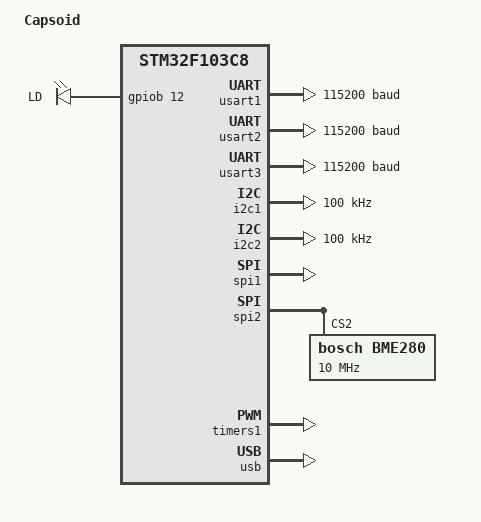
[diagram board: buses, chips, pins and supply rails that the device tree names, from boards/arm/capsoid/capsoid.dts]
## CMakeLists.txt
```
cmake_minimum_required(VERSION 3.16.1)

set(BOARD capsoid)

set(BOARD_ROOT ${CMAKE_CURRENT_LIST_DIR})

set(CONF_FILE prj.conf)

set(ZEPHYR_MODULES $ENV{ZEPHYR_MODULES})

include($ENV{ZEPHYR_BASE}/cmake/app/boilerplate.cmake NO_POLICY_SCOPE)
project(capsoid_controller)

target_sources(app PRIVATE
    src/main.c
    src/ieee802154_cc1101.c
    src/cc1101.c
    src/minmea.c
    src/neo_6m.c)

include_directories(src)

get_target_property(_src app SOURCES)
add_custom_target(tags
    ctags -R --c-kinds=+p ${_src}
    "$ENV{ZEPHYR_BASE}/kernel"
    "$ENV{ZEPHYR_BASE}/include"
    "$ENV{ZEPHYR_BASE}/lib"
    "$ENV{ZEPHYR_BASE}/subsys"
    "$ENV{ZEPHYR_BASE}/drivers"
    "$ENV{ZEPHYR_BASE}/soc"
    "$ENV{ZEPHYR_BASE}/arch"
    WORKING_DIRECTORY "${CMAKE_SOURCE_DIR}"
)


set(CMAKE_EXPORT_COMPILE_COMMANDS ON)
file(CREATE_LINK ${CMAKE_CURRENT_BINARY_DIR}/compile_commands.json ${CMAKE_CURRENT_SOURCE_DIR}/compile_commands.json SYMBOLIC)

#list (SORT _variableNames)
#foreach (_variableName ${_variableNames})
#    message(STATUS "${_variableName}=${${_variableName}}")
#endforeach()
```

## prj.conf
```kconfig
# Generated by Kconfiglib (https://github.com/ulfalizer/Kconfiglib)

#
# Modules
#

#
# Optional modules. Make sure they're installed, via the project manifest.
#
# CONFIG_CIVETWEB is not set
# CONFIG_LIBMETAL is not set
# CONFIG_MBEDTLS is not set
# CONFIG_HAS_MEC_HAL is not set
# CONFIG_OPENAMP is not set
CONFIG_HAS_STM32CUBE=y
CONFIG_USE_STM32_LL_I2C=y
CONFIG_USE_STM32_LL_SPI=y
CONFIG_USE_STM32_LL_UTILS=y
# CONFIG_MIPI_SYST_LIB is not set
# CONFIG_TINYCBOR is not set
# end of Modules

CONFIG_BOARD="capsoid"
# CONFIG_UART_1 is not set
CONFIG_I2C_1=y
# CONFIG_I2C_2 is not set
CONFIG_SPI_1=y
CONFIG_SPI_2=y
CONFIG_SOC="stm32f103xb"
CONFIG_SOC_SERIES="stm32f1"
CONFIG_NUM_IRQS=43
CONFIG_SYS_CLOCK_HW_CYCLES_PER_SEC=72000000
# CONFIG_WATCHDOG is not set
# CONFIG_UART_NS16550 is not set
CONFIG_GPIO=y
CONFIG_CORTEX_M_SYSTICK=y
CONFIG_ISR_STACK_SIZE=2048
CONFIG_CLOCK_CONTROL=y
CONFIG_SYS_CLOCK_TICKS_PER_SEC=10000
# CONFIG_SYS_POWER_MANAGEMENT is not set
CONFIG_BUILD_OUTPUT_HEX=y
CONFIG_TEXT_SECTION_OFFSET=0
CONFIG_FLASH_SIZE=64
CONFIG_FLASH_BASE_ADDRESS=0x8000000
CONFIG_SRAM_SIZE=20
CONFIG_SRAM_BASE_ADDRESS=0x20000000
CONFIG_SPI=y
# CONFIG_TINYCRYPT is not set
CONFIG_CLOCK_CONTROL_STM32_CUBE=y
CONFIG_UART_STM32=y
CONFIG_GPIO_STM32=y
CONFIG_GPIO_STM32_PORTA=y
CONFIG_GPIO_STM32_PORTB=y
CONFIG_GPIO_STM32_PORTC=y
CONFIG_PINMUX_STM32=y
CONFIG_SPI_STM32=y
CONFIG_I2C_STM32=y
CONFIG_GPIO_STM32_PORTD=y
# CONFIG_GPIO_STM32_PORTF is not set
CONFIG_GPIO_STM32_PORTE=y
# CONFIG_GPIO_STM32_PORTG is not set
CONFIG_I2C_STM32_V1=y
# CONFIG_GPIO_STM32_PORTH is not set
# CONFIG_GPIO_STM32_PORTI is not set
# CONFIG_GPIO_STM32_PORTJ is not set
# CONFIG_GPIO_STM32_PORTK is not set
CONFIG_BOARD_CAPSOID=y

#
# Board Options
#
CONFIG_GPIO_AS_PINRESET=y
# end of Board Options

# CONFIG_SOC_SERIES_BEETLE is not set
# CONFIG_SOC_SERIES_MPS2 is not set
# CONFIG_SOC_SERIES_MUSCA is not set
# CONFIG_SOC_SERIES_MUSCA_B1 is not set
# CONFIG_SOC_SERIES_SAM3X is not set
# CONFIG_SOC_SERIES_SAM4S is not set
# CONFIG_SOC_SERIES_SAME70 is not set
# CONFIG_SOC_SERIES_SAMD20 is not set
# CONFIG_SOC_SERIES_SAMD21 is not set
# CONFIG_SOC_SERIES_SAMD51 is not set
# CONFIG_SOC_SERIES_SAME51 is not set
# CONFIG_SOC_SERIES_SAME53 is not set
# CONFIG_SOC_SERIES_SAME54 is not set
# CONFIG_SOC_SERIES_SAMR21 is not set
# CONFIG_SOC_SERIES_PSOC62 is not set
# CONFIG_SOC_SERIES_MEC1501X is not set
# CONFIG_SOC_SERIES_MEC1701X is not set
# CONFIG_SOC_SERIES_NRF51X is not set
# CONFIG_SOC_SERIES_NRF52X is not set
# CONFIG_SOC_SERIES_NRF53X is not set
# CONFIG_SOC_SERIES_NRF91X is not set
# CONFIG_SOC_SERIES_IMX_6X_M4 is not set
# CONFIG_SOC_SERIES_IMX7_M4 is not set
# CONFIG_SOC_SERIES_IMX_RT is not set
# CONFIG_SOC_SERIES_KINETIS_K2X is not set
# CONFIG_SOC_SERIES_KINETIS_K6X is not set
# CONFIG_SOC_SERIES_KINETIS_K8X is not set
# CONFIG_SOC_SERIES_KINETIS_KE1XF is not set
# CONFIG_SOC_SERIES_KINETIS_KL2X is not set
# CONFIG_SOC_SERIES_KINETIS_KV5X is not set
# CONFIG_SOC_SERIES_KINETIS_KWX is not set
# CONFIG_SOC_SERIES_LPC54XXX is not set
# CONFIG_SOC_SERIES_LPC55XXX is not set
# CONFIG_SOC_SERIES_EFM32HG is not set
# CONFIG_SOC_SERIES_EFM32PG12B is not set
# CONFIG_SOC_SERIES_EFM32WG is not set
# CONFIG_SOC_SERIES_EFR32FG1P is not set
# CONFIG_SOC_SERIES_EFR32MG12P is not set
# CONFIG_SOC_SERIES_STM32F0X is not set
CONFIG_SOC_SERIES_STM32F1X=y
# CONFIG_SOC_SERIES_STM32F2X is not set
# CONFIG_SOC_SERIES_STM32F3X is not set
# CONFIG_SOC_SERIES_STM32F4X is not set
# CONFIG_SOC_SERIES_STM32F7X is not set
# CONFIG_SOC_SERIES_STM32G0X is not set
# CONFIG_SOC_SERIES_STM32G4X is not set
# CONFIG_SOC_SERIES_STM32H7X is not set
# CONFIG_SOC_SERIES_STM32L0X is not set
# CONFIG_SOC_SERIES_STM32L1X is not set
# CONFIG_SOC_SERIES_STM32L4X is not set
# CONFIG_SOC_SERIES_STM32MP1X is not set
# CONFIG_SOC_SERIES_STM32WBX is not set
# CONFIG_SOC_TI_LM3S6965 is not set
# CONFIG_SOC_SERIES_CC13X2_CC26X2 is not set
# CONFIG_SOC_SERIES_CC2650 is not set
# CONFIG_SOC_SERIES_CC32XX is not set
# CONFIG_SOC_SERIES_MSP432P4XX is not set
# CONFIG_SOC_XILINX_ZYNQMP is not set

#
# Hardware Configuration
#
CONFIG_HAS_SWO=y
CONFIG_SOC_FAMILY="st_stm32"
CONFIG_SOC_FAMILY_STM32=y
# CONFIG_SOC_STM32F103XE is not set
# CONFIG_SOC_STM32F103XB is not set
CONFIG_SOC_STM32F103X8=y
# CONFIG_SOC_STM32F107XC is not set
CONFIG_SOC_STM32F10X_DENSITY_DEVICE=y
# CONFIG_RPROC_RSC_TABLE is not set
# end of Hardware Configuration

#
# ARM Options
#
CONFIG_CPU_CORTEX=y
CONFIG_CPU_CORTEX_M=y
CONFIG_ISA_THUMB2=y
CONFIG_STACK_ALIGN_DOUBLE_WORD=y
# CONFIG_RUNTIME_NMI is not set
# CONFIG_PLATFORM_SPECIFIC_INIT is not set
CONFIG_FAULT_DUMP=2
CONFIG_CPU_CORTEX_M3=y
CONFIG_CPU_CORTEX_M_HAS_SYSTICK=y
CONFIG_CPU_CORTEX_M_HAS_BASEPRI=y
CONFIG_CPU_CORTEX_M_HAS_VTOR=y
CONFIG_CPU_CORTEX_M_HAS_PROGRAMMABLE_FAULT_PRIOS=y
CONFIG_ARMV7_M_ARMV8_M_MAINLINE=y
CONFIG_XIP=y

#
# ARM Cortex-M0/M0+/M3/M4/M7/M23/M33 options
#
CONFIG_GEN_ISR_TABLES=y
# CONFIG_ZERO_LATENCY_IRQS is not set
# end of ARM Cortex-M0/M0+/M3/M4/M7/M23/M33 options

CONFIG_GEN_IRQ_VECTOR_TABLE=y
CONFIG_ARCH="arm"
# end of ARM Options

# CONFIG_ARC is not set
CONFIG_ARM=y
# CONFIG_X86 is not set
# CONFIG_NIOS2 is not set
# CONFIG_RISCV is not set
# CONFIG_XTENSA is not set
# CONFIG_ARCH_POSIX is not set

#
# General Architecture Options
#
# CONFIG_STACK_GROWS_UP is not set

#
# Interrupt Configuration
#
# CONFIG_DYNAMIC_INTERRUPTS is not set
CONFIG_GEN_SW_ISR_TABLE=y
CONFIG_ARCH_SW_ISR_TABLE_ALIGN=0
CONFIG_GEN_IRQ_START_VECTOR=0
# end of Interrupt Configuration
# end of General Architecture Options

CONFIG_ARCH_HAS_RAMFUNC_SUPPORT=y
CONFIG_ARCH_HAS_NESTED_EXCEPTION_DETECTION=y
CONFIG_ARCH_HAS_THREAD_ABORT=y

#
# General Kernel Options
#
CONFIG_MULTITHREADING=y
CONFIG_NUM_COOP_PRIORITIES=16
CONFIG_NUM_PREEMPT_PRIORITIES=15
CONFIG_MAIN_THREAD_PRIORITY=0
CONFIG_COOP_ENABLED=y
CONFIG_PREEMPT_ENABLED=y
CONFIG_PRIORITY_CEILING=0
CONFIG_NUM_METAIRQ_PRIORITIES=0
# CONFIG_SCHED_DEADLINE is not set
# CONFIG_SCHED_CPU_MASK is not set
CONFIG_MAIN_STACK_SIZE=1024
CONFIG_IDLE_STACK_SIZE=256
# CONFIG_THREAD_STACK_INFO is not set
# CONFIG_THREAD_CUSTOM_DATA is not set
CONFIG_ERRNO=y
CONFIG_SCHED_DUMB=y
# CONFIG_SCHED_SCALABLE is not set
# CONFIG_SCHED_MULTIQ is not set
# CONFIG_WAITQ_SCALABLE is not set
CONFIG_WAITQ_DUMB=y

#
# Kernel Debugging and Metrics
#
# CONFIG_INIT_STACKS is not set
# CONFIG_KERNEL_DEBUG is not set
CONFIG_BOOT_BANNER=y
CONFIG_BOOT_DELAY=0
# CONFIG_EXECUTION_BENCHMARKING is not set
# CONFIG_THREAD_MONITOR is not set
# CONFIG_THREAD_NAME is not set
# end of Kernel Debugging and Metrics

#
# Work Queue Options
#
CONFIG_SYSTEM_WORKQUEUE_STACK_SIZE=1024
CONFIG_SYSTEM_WORKQUEUE_PRIORITY=-1
CONFIG_OFFLOAD_WORKQUEUE_STACK_SIZE=1024
CONFIG_OFFLOAD_WORKQUEUE_PRIORITY=-1
# end of Work Queue Options

#
# Atomic Operations
#
CONFIG_ATOMIC_OPERATIONS_BUILTIN=y
# end of Atomic Operations

#
# Timer API Options
#
CONFIG_TIMESLICING=y
CONFIG_TIMESLICE_SIZE=0
CONFIG_TIMESLICE_PRIORITY=0
CONFIG_POLL=y
# end of Timer API Options

#
# Other Kernel Object Options
#
CONFIG_NUM_MBOX_ASYNC_MSGS=10
CONFIG_NUM_PIPE_ASYNC_MSGS=10
CONFIG_HEAP_MEM_POOL_SIZE=0
# end of Other Kernel Object Options

CONFIG_ARCH_HAS_CUSTOM_SWAP_TO_MAIN=y
CONFIG_SWAP_NONATOMIC=y
CONFIG_SYS_CLOCK_EXISTS=y

#
# Initialization Priorities
#
CONFIG_KERNEL_INIT_PRIORITY_OBJECTS=30
CONFIG_KERNEL_INIT_PRIORITY_DEFAULT=40
CONFIG_KERNEL_INIT_PRIORITY_DEVICE=50
CONFIG_APPLICATION_INIT_PRIORITY=90
# end of Initialization Priorities

#
# Security Options
#
# end of Security Options

#
# SMP Options
#
CONFIG_MP_NUM_CPUS=1
# CONFIG_SCHED_IPI_SUPPORTED is not set
# end of SMP Options

CONFIG_TICKLESS_IDLE=y
CONFIG_TICKLESS_IDLE_THRESH=3
CONFIG_TICKLESS_KERNEL=y
# CONFIG_DEVICE_POWER_MANAGEMENT is not set
# end of General Kernel Options

CONFIG_HAS_DTS=y
CONFIG_HAS_DTS_GPIO=y
CONFIG_HAS_DTS_I2C=y

#
# Device Drivers
#
# CONFIG_IEEE802154 is not set
CONFIG_UART_CONSOLE_ON_DEV_NAME="UART_2"
CONFIG_CONSOLE=y
CONFIG_CONSOLE_INPUT_MAX_LINE_LEN=128
CONFIG_CONSOLE_HAS_DRIVER=y
CONFIG_CONSOLE_HANDLER=y
CONFIG_UART_CONSOLE=y
CONFIG_UART_CONSOLE_INIT_PRIORITY=60
# CONFIG_UART_CONSOLE_DEBUG_SERVER_HOOKS is not set
# CONFIG_UART_CONSOLE_MCUMGR is not set
# CONFIG_USB_UART_CONSOLE is not set
# CONFIG_RAM_CONSOLE is not set
# CONFIG_IPM_CONSOLE_SENDER is not set
# CONFIG_IPM_CONSOLE_RECEIVER is not set
# CONFIG_UART_PIPE is not set
# CONFIG_UART_MCUMGR is not set
# CONFIG_NET_LOOPBACK is not set
CONFIG_SERIAL=y

#
# Capabilities
#
CONFIG_SERIAL_HAS_DRIVER=y
CONFIG_SERIAL_SUPPORT_INTERRUPT=y
CONFIG_UART_INTERRUPT_DRIVEN=y
CONFIG_UART_LINE_CTRL=y
# CONFIG_UART_DRV_CMD is not set

#
# Serial Drivers
#
# CONFIG_UART_NSIM is not set
CONFIG_UART_2=y
CONFIG_UART_3=y
# CONFIG_UART_4 is not set
# CONFIG_UART_5 is not set
# CONFIG_UART_6 is not set
# CONFIG_UART_7 is not set
# CONFIG_UART_8 is not set
# CONFIG_UART_9 is not set
# CONFIG_UART_10 is not set
# CONFIG_UART_ALTERA_JTAG is not set
# CONFIG_UART_PL011 is not set

#
# Interrupt Controllers
#
CONFIG_EXTI_STM32=y
CONFIG_EXTI_STM32_EXTI0_IRQ_PRI=0
CONFIG_EXTI_STM32_EXTI1_IRQ_PRI=0
CONFIG_EXTI_STM32_EXTI2_IRQ_PRI=0
CONFIG_EXTI_STM32_EXTI3_IRQ_PRI=0
CONFIG_EXTI_STM32_EXTI4_IRQ_PRI=0
CONFIG_EXTI_STM32_EXTI9_5_IRQ_PRI=0
CONFIG_EXTI_STM32_EXTI15_10_IRQ_PRI=0
# CONFIG_MULTI_LEVEL_INTERRUPTS is not set
# end of Interrupt Controllers

#
# Timer Drivers
#
# CONFIG_SYSTEM_CLOCK_DISABLE is not set
# CONFIG_TIMER_READS_ITS_FREQUENCY_AT_RUNTIME is not set
# CONFIG_SYSTEM_CLOCK_SLOPPY_IDLE is not set
CONFIG_SYSTEM_CLOCK_INIT_PRIORITY=0
CONFIG_TICKLESS_CAPABLE=y
# end of Timer Drivers

# CONFIG_ENTROPY_GENERATOR is not set
# CONFIG_GPIO_SHELL is not set
# CONFIG_GPIO_DW is not set
# CONFIG_GPIO_PCAL9535A is not set
CONFIG_GPIO_STM32_SWJ_ENABLE=y
# CONFIG_GPIO_STM32_SWJ_NONJTRST is not set
# CONFIG_GPIO_STM32_SWJ_NOJTAG is not set
# CONFIG_GPIO_STM32_SWJ_DISABLE is not set
# CONFIG_GPIO_SX1509B is not set
# CONFIG_GPIO_INTEL_APL is not set
# CONFIG_SHARED_IRQ is not set
# CONFIG_SPI_ASYNC is not set
# CONFIG_SPI_SLAVE is not set
CONFIG_SPI_INIT_PRIORITY=70
# CONFIG_SPI_0 is not set
CONFIG_SPI_1_OP_MODES=1
CONFIG_SPI_2_OP_MODES=1
# CONFIG_SPI_3 is not set
# CONFIG_SPI_4 is not set
# CONFIG_SPI_5 is not set
# CONFIG_SPI_6 is not set
# CONFIG_SPI_STM32_INTERRUPT is not set
CONFIG_SPI_STM32_USE_HW_SS=y
# CONFIG_SPI_OC_SIMPLE is not set
CONFIG_I2C=y
CONFIG_I2C_SLAVE=y
CONFIG_I2C_SLAVE_INIT_PRIORITY=60
# CONFIG_I2C_EEPROM_SLAVE is not set
# CONFIG_I2C_GPIO is not set
# CONFIG_I2C_SBCON is not set
CONFIG_I2C_STM32_INTERRUPT=y
CONFIG_I2C_INIT_PRIORITY=60
# CONFIG_I2C_0 is not set
# CONFIG_I2C_3 is not set
# CONFIG_I2C_4 is not set
# CONFIG_I2C_5 is not set
# CONFIG_I2C_6 is not set
# CONFIG_I2C_7 is not set
# CONFIG_I2S is not set
# CONFIG_PWM is not set
CONFIG_PINMUX=y
CONFIG_PINMUX_NAME="PINMUX"
CONFIG_PINMUX_INIT_PRIORITY=45
CONFIG_PINMUX_STM32_DEVICE_INITIALIZATION_PRIORITY=2
# CONFIG_ADC is not set
CONFIG_CLOCK_CONTROL_STM32_DEVICE_INIT_PRIORITY=1
# CONFIG_CLOCK_STM32_SYSCLK_SRC_HSE is not set
# CONFIG_CLOCK_STM32_SYSCLK_SRC_HSI is not set
CONFIG_CLOCK_STM32_SYSCLK_SRC_PLL=y
# CONFIG_CLOCK_STM32_HSE_BYPASS is not set
CONFIG_CLOCK_STM32_HSE_CLOCK=8000000
# CONFIG_CLOCK_STM32_PLL_SRC_HSI is not set
CONFIG_CLOCK_STM32_PLL_SRC_HSE=y
CONFIG_CLOCK_STM32_PLL_MULTIPLIER=9
# CONFIG_CLOCK_STM32_PLL_XTPRE is not set
CONFIG_CLOCK_STM32_AHB_PRESCALER=1
CONFIG_CLOCK_STM32_APB1_PRESCALER=2
CONFIG_CLOCK_STM32_APB2_PRESCALER=1
CONFIG_CLOCK_STM32_MCO1_SRC_NOCLOCK=y
CONFIG_CLOCK_STM32_MCO2_SRC_NOCLOCK=y
# CONFIG_PTP_CLOCK is not set
# CONFIG_IPM is not set
# CONFIG_IPM_NRF_SINGLE_INSTANCE is not set
# CONFIG_FLASH is not set
CONFIG_SENSOR=y
CONFIG_SENSOR_INIT_PRIORITY=90

#
# Device Drivers
#
# CONFIG_ADT7420 is not set
# CONFIG_ADXL362 is not set
# CONFIG_ADXL372 is not set
# CONFIG_AK8975 is not set
# CONFIG_AMG88XX is not set
# CONFIG_AMS_IAQ_CORE is not set
# CONFIG_APDS9960 is not set
# CONFIG_BMA280 is not set
# CONFIG_BMC150_MAGN is not set
CONFIG_BME280=y

#
# Attributes
#
# CONFIG_BME280_TEMP_OVER_1X is not set
CONFIG_BME280_TEMP_OVER_2X=y
# CONFIG_BME280_TEMP_OVER_4X is not set
# CONFIG_BME280_TEMP_OVER_8X is not set
# CONFIG_BME280_TEMP_OVER_16X is not set
# CONFIG_BME280_PRESS_OVER_1X is not set
# CONFIG_BME280_PRESS_OVER_2X is not set
# CONFIG_BME280_PRESS_OVER_4X is not set
# CONFIG_BME280_PRESS_OVER_8X is not set
CONFIG_BME280_PRESS_OVER_16X=y
# CONFIG_BME280_HUMIDITY_OVER_1X is not set
# CONFIG_BME280_HUMIDITY_OVER_2X is not set
# CONFIG_BME280_HUMIDITY_OVER_4X is not set
# CONFIG_BME280_HUMIDITY_OVER_8X is not set
CONFIG_BME280_HUMIDITY_OVER_16X=y
# CONFIG_BME280_STANDBY_05MS is not set
# CONFIG_BME280_STANDBY_62MS is not set
# CONFIG_BME280_STANDBY_125MS is not set
# CONFIG_BME280_STANDBY_250MS is not set
# CONFIG_BME280_STANDBY_500MS is not set
CONFIG_BME280_STANDBY_1000MS=y
# CONFIG_BME280_STANDBY_2000MS is not set
# CONFIG_BME280_STANDBY_4000MS is not set
# CONFIG_BME280_FILTER_OFF is not set
# CONFIG_BME280_FILTER_2 is not set
CONFIG_BME280_FILTER_4=y
# CONFIG_BME280_FILTER_8 is not set
# CONFIG_BME280_FILTER_16 is not set
# end of Attributes

# CONFIG_BME680 is not set
# CONFIG_BMG160 is not set
# CONFIG_BMI160 is not set
# CONFIG_BMM150 is not set
# CONFIG_CCS811 is not set
# CONFIG_DHT is not set
# CONFIG_ENS210 is not set
# CONFIG_FXAS21002 is not set
# CONFIG_FXOS8700 is not set
# CONFIG_TI_HDC is not set
# CONFIG_HMC5883L is not set
# CONFIG_HP206C is not set
# CONFIG_HTS221 is not set
# CONFIG_IIS3DHHC is not set
# CONFIG_ISL29035 is not set
# CONFIG_LIS2DH is not set
# CONFIG_LIS2DS12 is not set
# CONFIG_LIS2DW12 is not set
# CONFIG_LIS2MDL is not set
# CONFIG_LIS3MDL is not set
# CONFIG_LPS22HB is not set
# CONFIG_LPS22HH is not set
# CONFIG_LPS25HB is not set
# CONFIG_LSM303DLHC_MAGN is not set
# CONFIG_LSM6DS0 is not set
# CONFIG_LSM6DSL is not set
# CONFIG_LSM6DSO is not set
# CONFIG_LSM9DS0_GYRO is not set
# CONFIG_LSM9DS0_MFD is not set
# CONFIG_MAX30101 is not set
# CONFIG_MAX44009 is not set
# CONFIG_MCP9808 is not set
CONFIG_MPU6050=y
CONFIG_MPU6050_NAME="MPU6050"
CONFIG_MPU6050_I2C_ADDR=0x68
CONFIG_MPU6050_I2C_MASTER_DEV_NAME="I2C_1"
# CONFIG_MPU6050_TRIGGER_NONE is not set
CONFIG_MPU6050_TRIGGER_GLOBAL_THREAD=y
# CONFIG_MPU6050_TRIGGER_OWN_THREAD is not set
CONFIG_MPU6050_TRIGGER=y
CONFIG_MPU6050_GPIO_DEV_NAME="GPIOA"
CONFIG_MPU6050_GPIO_PIN_NUM=7
CONFIG_MPU6050_ACCEL_FS=16
CONFIG_MPU6050_GYRO_FS=1000
# CONFIG_MS5837 is not set
# CONFIG_OPT3001 is not set
# CONFIG_PMS7003 is not set
# CONFIG_SHT3XD is not set
# CONFIG_SI7006 is not set
# CONFIG_SI7060 is not set
# CONFIG_STTS751 is not set
# CONFIG_SX9500 is not set
# CONFIG_TH02 is not set
# CONFIG_TMP007 is not set
# CONFIG_TMP112 is not set
# CONFIG_TMP116 is not set
# CONFIG_VL53L0X is not set
# CONFIG_COUNTER is not set
# CONFIG_DMA is not set
# CONFIG_USB is not set
# CONFIG_CRYPTO is not set
# CONFIG_DISPLAY is not set
# CONFIG_LED_STRIP is not set
# CONFIG_WIFI is not set
# CONFIG_LED is not set
# CONFIG_CAN is not set
# CONFIG_MODEM is not set
# CONFIG_AUDIO is not set
# CONFIG_NEURAL_NET_ACCEL is not set
# CONFIG_HWINFO is not set
# CONFIG_ESPI is not set
# CONFIG_PS2 is not set
# CONFIG_KSCAN is not set
# CONFIG_VIDEO is not set
# CONFIG_EEPROM is not set
# end of Device Drivers

#
# C Library
#
CONFIG_MINIMAL_LIBC=y
# CONFIG_NEWLIB_LIBC is not set
# CONFIG_EXTERNAL_LIBC is not set
CONFIG_MINIMAL_LIBC_MALLOC_ARENA_SIZE=0
# CONFIG_MINIMAL_LIBC_LL_PRINTF is not set
CONFIG_STDOUT_CONSOLE=y
# end of C Library

#
# Additional libraries
#
# CONFIG_LVGL is not set

#
# OS Support Library
#
# CONFIG_JSON_LIBRARY is not set
CONFIG_RING_BUFFER=y
# CONFIG_BASE64 is not set
# end of OS Support Library

CONFIG_POSIX_MAX_FDS=4
# CONFIG_POSIX_API is not set
# CONFIG_PTHREAD_IPC is not set
# CONFIG_POSIX_CLOCK is not set
CONFIG_MAX_TIMER_COUNT=5
# CONFIG_POSIX_MQUEUE is not set
# CONFIG_UPDATEHUB is not set
# end of Additional libraries

# CONFIG_BT is not set
# CONFIG_CONSOLE_SUBSYS is not set
# CONFIG_CPLUSPLUS is not set

#
# System Monitoring Options
#
# CONFIG_BOOT_TIME_MEASUREMENT is not set
# CONFIG_STATS is not set
# end of System Monitoring Options

#
# Debugging Options
#
# CONFIG_DEBUG is not set
# CONFIG_TRACING is not set
# CONFIG_STACK_USAGE is not set
# CONFIG_STACK_SENTINEL is not set
CONFIG_PRINTK=y
CONFIG_EARLY_CONSOLE=y
# CONFIG_ASSERT is not set
# CONFIG_FORCE_NO_ASSERT is not set
# CONFIG_ASSERT_NO_FILE_INFO is not set
# CONFIG_OBJECT_TRACING is not set
# CONFIG_OVERRIDE_FRAME_POINTER_DEFAULT is not set
# CONFIG_DEBUG_INFO is not set
# CONFIG_OPENOCD_SUPPORT is not set
# CONFIG_TRACING_CPU_STATS is not set
# CONFIG_TRACING_CTF is not set
CONFIG_HAS_SEGGER_RTT=y
# CONFIG_USE_SEGGER_RTT is not set
# end of Debugging Options

# CONFIG_DISK_ACCESS is not set

#
# File Systems
#
# CONFIG_FILE_SYSTEM is not set
# CONFIG_NVS is not set
# end of File Systems

# CONFIG_LOG is not set

#
# Management
#
# CONFIG_MCUMGR_SMP_BT is not set
# CONFIG_MCUMGR_SMP_SHELL is not set
# CONFIG_MCUMGR_SMP_UART is not set
# CONFIG_MCUMGR is not set
# end of Management

#
# Networking
#
# CONFIG_NET_BUF is not set
# CONFIG_NETWORKING is not set
# end of Networking

CONFIG_SHELL=y
CONFIG_SHELL_BACKENDS=y
CONFIG_SHELL_BACKEND_SERIAL=y
CONFIG_SHELL_PROMPT_UART="UART_2:~$ "
CONFIG_UART_SHELL_ON_DEV_NAME="UART_2"
CONFIG_SHELL_BACKEND_SERIAL_INTERRUPT_DRIVEN=y
CONFIG_SHELL_BACKEND_SERIAL_TX_RING_BUFFER_SIZE=8
CONFIG_SHELL_BACKEND_SERIAL_RX_RING_BUFFER_SIZE=64
CONFIG_SHELL_BACKEND_SERIAL_LOG_MESSAGE_QUEUE_TIMEOUT=100
CONFIG_SHELL_BACKEND_SERIAL_LOG_MESSAGE_QUEUE_SIZE=10
CONFIG_SHELL_BACKEND_SERIAL_LOG_LEVEL_DEFAULT=y
# CONFIG_SHELL_BACKEND_SERIAL_LOG_LEVEL_DBG is not set
# CONFIG_SHELL_BACKEND_SERIAL_LOG_LEVEL_INF is not set
# CONFIG_SHELL_BACKEND_SERIAL_LOG_LEVEL_WRN is not set
# CONFIG_SHELL_BACKEND_SERIAL_LOG_LEVEL_ERR is not set
# CONFIG_SHELL_BACKEND_SERIAL_LOG_LEVEL_NONE is not set
CONFIG_SHELL_BACKEND_SERIAL_LOG_LEVEL=5
# CONFIG_SHELL_BACKEND_RTT is not set
# CONFIG_SHELL_BACKEND_DUMMY is not set
CONFIG_SHELL_STACK_SIZE=2048
CONFIG_SHELL_BACKSPACE_MODE_DELETE=y
CONFIG_SHELL_CMD_BUFF_SIZE=256
CONFIG_SHELL_PRINTF_BUFF_SIZE=30
CONFIG_SHELL_ARGC_MAX=12
CONFIG_SHELL_WILDCARD=y
CONFIG_SHELL_ECHO_STATUS=y
CONFIG_SHELL_VT100_COLORS=y
CONFIG_SHELL_METAKEYS=y
CONFIG_SHELL_HELP=y
CONFIG_SHELL_HELP_ON_WRONG_ARGUMENT_COUNT=y
CONFIG_SHELL_HISTORY=y
CONFIG_SHELL_HISTORY_BUFFER=512
CONFIG_SHELL_STATS=y
CONFIG_SHELL_CMDS=y
CONFIG_SHELL_CMDS_RESIZE=y
# CONFIG_SHELL_CMDS_SELECT is not set
CONFIG_KERNEL_SHELL=y
CONFIG_DEVICE_SHELL=y
# CONFIG_IMG_MANAGER is not set

#
# Random subsystem
#
# CONFIG_TEST_RANDOM_GENERATOR is not set
# end of Random subsystem

#
# Storage
#
# end of Storage

# CONFIG_SETTINGS is not set

#
# Testing
#
# CONFIG_ZTEST is not set
# CONFIG_ZTEST_MOCKING is not set
# CONFIG_TEST is not set
# CONFIG_TEST_SHELL is not set
CONFIG_TEST_EXTRA_STACKSIZE=0
# CONFIG_TEST_USERSPACE is not set
CONFIG_TEST_ARM_CORTEX_M=y
# end of Testing

# CONFIG_CHARACTER_FRAMEBUFFER is not set
# CONFIG_JWT is not set

#
# External Sources
#

#
# HALs
#
CONFIG_HAS_CMSIS_CORE=y
CONFIG_HAS_CMSIS_CORE_M=y
# end of HALs

#
# Cryptography
#
# end of Cryptography

CONFIG_FNMATCH=y
# end of External Sources

#
# Build and Link Features
#

#
# Linker Options
#
# CONFIG_LINKER_ORPHAN_SECTION_PLACE is not set
CONFIG_LINKER_ORPHAN_SECTION_WARN=y
# CONFIG_LINKER_ORPHAN_SECTION_ERROR is not set
# CONFIG_CODE_DATA_RELOCATION is not set
CONFIG_HAS_FLASH_LOAD_OFFSET=y
# CONFIG_USE_CODE_PARTITION is not set
CONFIG_FLASH_LOAD_OFFSET=0
CONFIG_FLASH_LOAD_SIZE=0
# CONFIG_HAVE_CUSTOM_LINKER_SCRIPT is not set
# CONFIG_CUSTOM_RODATA_LD is not set
# CONFIG_CUSTOM_RWDATA_LD is not set
# CONFIG_CUSTOM_SECTIONS_LD is not set
CONFIG_KERNEL_ENTRY="__start"
CONFIG_LINKER_SORT_BY_ALIGNMENT=y
# end of Linker Options

#
# Compiler Options
#
# CONFIG_NATIVE_APPLICATION is not set
CONFIG_SIZE_OPTIMIZATIONS=y
# CONFIG_SPEED_OPTIMIZATIONS is not set
# CONFIG_DEBUG_OPTIMIZATIONS is not set
# CONFIG_NO_OPTIMIZATIONS is not set
CONFIG_COMPILER_OPT=""
# end of Compiler Options

#
# Build Options
#
CONFIG_KERNEL_BIN_NAME="zephyr"
CONFIG_OUTPUT_STAT=y
CONFIG_OUTPUT_DISASSEMBLY=y
CONFIG_OUTPUT_PRINT_MEMORY_USAGE=y
CONFIG_BUILD_OUTPUT_BIN=y
# CONFIG_BUILD_OUTPUT_EXE is not set
# CONFIG_BUILD_OUTPUT_S19 is not set
# CONFIG_BUILD_NO_GAP_FILL is not set
# CONFIG_BUILD_OUTPUT_STRIPPED is not set
# CONFIG_APPLICATION_DEFINED_SYSCALL is not set
# end of Build Options
# end of Build and Link Features

#
# Boot Options
#
# CONFIG_IS_BOOTLOADER is not set
# CONFIG_BOOTLOADER_MCUBOOT is not set
# CONFIG_REBOOT is not set
# CONFIG_MISRA_SANE is not set
# end of Boot Options

#
# Compatibility
#
CONFIG_COMPAT_INCLUDES=y
# end of Compatibility
```

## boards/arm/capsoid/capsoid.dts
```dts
/dts-v1/;
#include <st/f1/stm32f103X8.dtsi>

/ {
	model = "Capsoid";
	compatible = "st,stm32f103c8";

	chosen {
		zephyr,console = &usart2;
		zephyr,shell-uart = &usart2;
		zephyr,sram = &sram0;
		zephyr,flash = &flash0;
	};

	leds {
		compatible = "gpio-leds";
		led: led {
			gpios = <&gpiob 12 GPIO_INT_ACTIVE_HIGH>;
			label = "LD";
		};
	};

	aliases {
		led0 = &led;
	};
};

&usart1 {
	current-speed = <115200>;
	status = "okay";
};

&usart2 {
	current-speed = <115200>;
	status = "okay";
};

&usart3 {
	current-speed = <115200>;
	status = "okay";
};

&i2c1 {
	status = "okay";
	clock-frequency = <I2C_BITRATE_STANDARD>;
};

&i2c2 {
	status = "okay";
	clock-frequency = <I2C_BITRATE_STANDARD>;
};

&spi1 {
	status = "okay";
};

&spi2 {
	status = "okay";
    /* Why second slave select??? */
    bme280@2 {
        compatible = "bosch,bme280";
        reg = <2>;
        spi-max-frequency = <10000000>;
        label = "BME280";
        status = "okay";
    };

};

&timers1 {
	status = "okay";

	pwm {
		status = "okay";
	};
};

&usb {
	status = "okay";
};
```

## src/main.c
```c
/*
 * Copyright (c) 2012-2014 Wind River Systems, Inc.
 *
 * SPDX-License-Identifier: Apache-2.0
 */

#include <zephyr.h>

#include <device.h>
#include <i2c.h>
#include <kernel.h>
#include <misc/__assert.h>
#include <misc/printk.h>
#include <sensor.h>
#include <shell/shell.h>
#include <spi.h>
#include <uart.h>
#include <stdio.h>
#include <stdlib.h>

#include "minmea.h"
#include "neo_6m.h"

#include "cc1101.h"
#include "ieee802154_cc1101.h"

#define PR(fmt, ...) \
    shell_fprintf(shell, SHELL_NORMAL, fmt, ##__VA_ARGS__)
#define PR_ERROR(fmt, ...) \
    shell_fprintf(shell, SHELL_ERROR, fmt, ##__VA_ARGS__)
#define PR_INFO(fmt, ...) \
    shell_fprintf(shell, SHELL_INFO, fmt, ##__VA_ARGS__)
#define PR_WARNING(fmt, ...) \
    shell_fprintf(shell, SHELL_WARNING, fmt, ##__VA_ARGS__)

struct device* bme280;
struct device* mpu6050;
struct device* cc1101;
struct device* neo_6m;

void main(void)
{
    int ret;


    printk("[%s  %s] Hello World from %s!\n", __DATE__, __TIME__, CONFIG_BOARD);

    bme280 = device_get_binding("BME280");
    if (!bme280)
    {
        printk("Failed to init BME280!\n");
    }

    mpu6050 = device_get_binding("MPU6050");
    if (!mpu6050)
    {
        printk("Failed to init MPU6050!\n");
    }

    neo_6m = device_get_binding("NEO_6M");
    if (!neo_6m)
    {
        printk("Failed to init NEO_6M!\n");
    }

    cc1101 = device_get_binding("CC1101");
    if (!cc1101)
    {
        printk("Failed to init CC1101!\n");
    }
    else
    {
        ret = cc1101_start(cc1101);
        __ASSERT_NO_MSG(!ret);
        ret = cc1101_set_txpower(cc1101, 10);
        __ASSERT_NO_MSG(!ret);
        ret = cc1101_set_channel(cc1101, 0);
        __ASSERT_NO_MSG(!ret);
    }

    //__ASSERT(0, "fail\n");

    while (1)
    {
        k_sleep(1000);
    }
}

static int cmd_mpu6050_reset(const struct shell* shell, size_t argc, char** argv)
{
    struct device* i2c = device_get_binding("I2C_1");
    __ASSERT_NO_MSG(i2c);

    if (i2c_reg_write_byte(i2c, 0x68, 0x6B, 0x80) < 0)
    {
        printk("Failed to wake up chip.");
    }
    /*
       k_busy_wait(100);
       u8_t v;
       if (i2c_reg_read_byte(i2c, 0x68, 0x6B, &v) < 0) {
           printk("Failed to wake up chip.");
       }
       */
    k_sleep(10);

    if (i2c_reg_write_byte(i2c, 0x68, 0x6B, 0x00) < 0)
    {
        printk("Failed to wake up chip.");
    }

    return 0;
}

static int cmd_mpu6050_read(const struct shell *shell, size_t argc, char **argv)
{
    __ASSERT_NO_MSG(mpu6050);

    struct sensor_value temp[3];

    if (sensor_sample_fetch(mpu6050))
    {
        printk("Failed to read data from mpu6050\n.");
    }

    sensor_channel_get(mpu6050, SENSOR_CHAN_ACCEL_XYZ, &temp[0]);
    PR("A X: %d.%06d\n", temp[0].val1, abs(temp[0].val2));
    PR("A Y: %d.%06d\n", temp[1].val1, abs(temp[1].val2));
    PR("A Z: %d.%06d\n", temp[2].val1, abs(temp[2].val2));

    sensor_channel_get(mpu6050, SENSOR_CHAN_GYRO_XYZ, &temp[0]);
    PR("G X: %d.%06d\n", temp[0].val1, abs(temp[0].val2));
    PR("G Y: %d.%06d\n", temp[1].val1, abs(temp[1].val2));
    PR("G Z: %d.%06d\n", temp[2].val1, abs(temp[2].val2));

    sensor_channel_get(mpu6050, SENSOR_CHAN_DIE_TEMP, &temp[0]);
    PR("T: %d.%06d\n", temp[0].val1, abs(temp[0].val2));

    return 0;
}

static int cmd_bme280_read(const struct shell *shell, size_t argc, char **argv)
{
    __ASSERT_NO_MSG(bme280);

    struct sensor_value temp, press, humidity;

    sensor_sample_fetch(bme280);
    if (sensor_sample_fetch(bme280))
    {
        printk("Failed to read data from bm280\n.");
    }

    sensor_channel_get(bme280, SENSOR_CHAN_AMBIENT_TEMP, &temp);
    sensor_channel_get(bme280, SENSOR_CHAN_PRESS, &press);
    sensor_channel_get(bme280, SENSOR_CHAN_HUMIDITY, &humidity);

    PR("T: %d.%06d; press: %d.%06d; humidity: %d.%06d\n",
            temp.val1, temp.val2, press.val1, press.val2,
            humidity.val1, humidity.val2);

    return 0;
}

static int cmd_cc1101_reset(const struct shell *shell, size_t argc, char **argv)
{
    ARG_UNUSED(argc);
    ARG_UNUSED(argv);

   // cc1101_reset();

    return 0;
}

static int cmd_cc1101_init(const struct shell *shell, size_t argc, char **argv)
{
    ARG_UNUSED(argc);
    ARG_UNUSED(argv);

  //  cc1101_init("SPI_1", "GPIOA", 3, 0, 2, 1);

    return 0;
}

static int cmd_cc1101_rr(const struct shell *shell, size_t argc, char **argv)
{
    __ASSERT(argc == 2, "wrong format");
/*
    u8_t v;
    u8_t reg = atoi(argv[1]);
    cc1101_read_reg(reg, &v);
    PR("reg %02x = %u\n", reg, v);
    */

    return 0;
}

static int cmd_cc1101_tx(const struct shell *shell, size_t argc, char **argv)
{
    ARG_UNUSED(argv);

    __ASSERT_NO_MSG(cc1101);
    cc1101_tx(cc1101, argv[1], strlen(argv[1]) + 1);

    return 0;
}

static int cmd_cc1101_wr(const struct shell *shell, size_t argc, char **argv)
{
    __ASSERT(argc == 2, "wrong format");

    return 0;
}

static void rf_beacon(struct device *dev)
{
    int i = 0;
    char tmp[10] = {0};

    while (1) {
        snprintf(tmp, sizeof(tmp), "%d", i++);
        printk("tx: '%s'\n", tmp);
        cc1101_tx(dev, tmp, strlen(tmp));
        k_sleep(1000);
    }
}

static int cmd_cc1101_beacon(const struct shell *shell, size_t argc, char **argv)
{
    if (argc != 2)
    {
        printk("wrong format\n");
        return 0;
    }

    static struct beacon_ctx {
        K_THREAD_STACK_MEMBER(beacon_stack, CFG_CC1101_RX_STACK_SIZE);
        struct k_thread beacon_thread;
    } b;

    k_thread_create(&b.beacon_thread, b.beacon_stack,
            1024,
            (k_thread_entry_t)rf_beacon,
            cc1101, NULL, NULL, K_PRIO_COOP(2), 0, 0);
    k_thread_name_set(&b.beacon_thread, "rf_beacon");

    return 0;
}

static int cmd_cc1101_pa(const struct shell *shell, size_t argc, char **argv)
{
    if (argc != 2)
    {
        printk("wrong format\n");
        return 0;
    }

    cc1101_set_txpower(cc1101, atoi(argv[1]));

    return 0;
}

static int cmd_cc1101_channel(const struct shell *shell, size_t argc, char **argv)
{
    if (argc != 2)
    {
        printk("wrong format\n");
        return 0;
    }

    cc1101_set_channel(cc1101, atoi(argv[1]));

    return 0;
}

static int cmd_neo_6m_read_data(const struct shell *shell, size_t argc, char **argv)
{
    int size = 128;
    char buffer[128] = {0};

    neo_6m_read_gps_message(buffer, size);

    PR("I have read this shit from GPS: %s \n", buffer);

    return 0;
}


SHELL_CREATE_STATIC_SUBCMD_SET(mpu6050_commands)
{
    SHELL_CMD(read, NULL, "read mpu6050", cmd_mpu6050_read),
    SHELL_CMD(reset, NULL, "reset mpu6050", cmd_mpu6050_reset),
    SHELL_SUBCMD_SET_END
};

SHELL_CREATE_STATIC_SUBCMD_SET(bme280_commands)
{
    SHELL_CMD(read, NULL, "read bme280", cmd_bme280_read),
    SHELL_SUBCMD_SET_END
};

SHELL_CREATE_STATIC_SUBCMD_SET(cc1101_commands)
{
    SHELL_CMD(reset, NULL, "reset RF", cmd_cc1101_reset),
    SHELL_CMD(init, NULL, "init RF", cmd_cc1101_init),
    SHELL_CMD(rr, NULL, "'cc1101 rr <reg>' reads cc1101 <reg> value", cmd_cc1101_rr),
    SHELL_CMD(wr, NULL, "'cc1101 wr <reg> <val>' writes cc1101 <reg> with <val>", cmd_cc1101_wr),
    SHELL_CMD(tx, NULL, "'cc1101 tx <string>' tx <string>", cmd_cc1101_tx),
    SHELL_CMD(beacon, NULL, "'cc1101 beacon <start|stop>' start/stop RF beacon>", cmd_cc1101_beacon),
    SHELL_CMD(pa, NULL, "'cc1101 pa <-30|-20|-15|-10|0|5|7|10>' set RT output power (dBm)>", cmd_cc1101_pa),
    SHELL_CMD(pa, NULL, "'cc1101 channel <num>' set RF channel>", cmd_cc1101_channel),
    SHELL_SUBCMD_SET_END
};

SHELL_CREATE_STATIC_SUBCMD_SET(neo_6m_commands)
{
    SHELL_CMD(read, NULL, "read gps data", cmd_neo_6m_read_data),
    SHELL_SUBCMD_SET_END
};

SHELL_CMD_REGISTER(bme280, &bme280_commands, "Control RF chip.", NULL);
SHELL_CMD_REGISTER(cc1101, &cc1101_commands, "Read pressure/temperature/humidity", NULL);
SHELL_CMD_REGISTER(mpu6050, &mpu6050_commands, "Read mpu6050", NULL);
SHELL_CMD_REGISTER(neo_6m, &neo_6m_commands, "Read gps data", NULL);
```

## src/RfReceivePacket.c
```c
/*******************************************************************************************************
 *                                                                                                     *
 *        **********                                                                                   *
 *       ************                                                                                  *
 *      ***        ***                                                                                 *
 *      ***   +++   ***                                                                                *
 *      ***   + +   ***     This function receives a packet                                            *
 *      ***   +                                                                                        *
 *      ***   + +   ***                                                                                *
 *      ***   +++   ***     RfReceivePacket.c                                                          *
 *      ***        ***                                                                                 *
 *       ************                                                                                  *
 *        **********                                                                                   *
 *                                                                                                     *
 *******************************************************************************************************
 * Compiler:                Keil C51 V7.50                                                             *
 * Target platform:         Chipcon CCxxx0 (Silabs F320)                                               *
 * Author:                  SNA                                                                        *
 *******************************************************************************************************
 * Revision history:        See end of file                                                            *
 ******************************************************************************************************/
#include <Chipcon\srf04\halsrf04.h>
#include <Chipcon\srf04\regssrf04.h>




//-------------------------------------------------------------------------------------------------------
// Defines
#define CRC_OK              0x80  
#define GDO0_PIN            P0_6
#define RSSI                0
#define LQI                 1
#define BYTES_IN_RXFIFO     0x7F        
//-------------------------------------------------------------------------------------------------------





//-------------------------------------------------------------------------------------------------------
//  BOOL halRfReceivePacket(BYTE *rxBuffer, UINT8 *length)
//
//  DESCRIPTION: 
//      This function can be used to receive a packet of variable packet length (first byte in the packet
//      must be the length byte). The packet length should not exceed the RX FIFO size.
//      To use this function, GD00 must be configured to be asserted when sync word is sent and 
//      de-asserted at the end of the packet => halSpiWriteReg(CCxxx0_IOCFG0, 0x06);
//      Also, APPEND_STATUS in the PKTCTRL1 register must be enabled.
//      The function implements polling of GDO0. First it waits for GD00 to be set and then it waits
//      for it to be cleared.
//      After the GDO0 pin has been de-asserted, the RXBYTES register is read to make sure that there
//      are bytes in the FIFO. This is because the GDO signal will indicate sync received even if the
//      FIFO is flushed due to address filtering, CRC filtering, or packet length filtering. 
//  
//  ARGUMENTS:
//      BYTE *rxBuffer
//          Pointer to the buffer where the incoming data should be stored
//      UINT8 *length
//          Pointer to a variable containing the size of the buffer where the incoming data should be
//          stored. After this function returns, that variable holds the packet length.
//          
//  RETURN VALUE:
//      BOOL
//          TRUE:   CRC OK
//          FALSE:  CRC NOT OK (or no packet was put in the RX FIFO due to filtering)
//-------------------------------------------------------------------------------------------------------
BOOL halRfReceivePacket(BYTE *rxBuffer, UINT8 *length) {
    BYTE status[2];
    UINT8 packetLength;

    halSpiStrobe(CCxxx0_SRX);

    // Wait for GDO0 to be set -> sync received
    while (!GDO0_PIN);

    // Wait for GDO0 to be cleared -> end of packet
    while (GDO0_PIN);

    // This status register is safe to read since it will not be updated after
    // the packet has been received (See the CC1100 and 2500 Errata Note)
    if ((halSpiReadStatus(CCxxx0_RXBYTES) & BYTES_IN_RXFIFO)) {

        // Read length byte
        packetLength = halSpiReadReg(CCxxx0_RXFIFO);
    
        // Read data from RX FIFO and store in rxBuffer
        if (packetLength <= *length) {
            halSpiReadBurstReg(CCxxx0_RXFIFO, rxBuffer, packetLength); 
            *length = packetLength;
        
            // Read the 2 appended status bytes (status[0] = RSSI, status[1] = LQI)
            halSpiReadBurstReg(CCxxx0_RXFIFO, status, 2); 
        
            // MSB of LQI is the CRC_OK bit
            return (status[LQI] & CRC_OK);
        } else {
            *length = packetLength;

            // Make sure that the radio is in IDLE state before flushing the FIFO
            // (Unless RXOFF_MODE has been changed, the radio should be in IDLE state at this point) 
            halSpiStrobe(CCxxx0_SIDLE);

            // Flush RX FIFO
            halSpiStrobe(CCxxx0_SFRX);
            return FALSE;
        }
    } else
        return FALSE;
}// halRfReceivePacket




/*******************************************************************************************************
 * Revision history:                                                                                   *
 *
 * $Log: RfReceivePacket.c,v $
 * Revision 1.9  2006/10/06 13:32:48  a0190596
 * no message
 *
 * Revision 1.8  2006/03/17 10:03:26  a0190596
 * Comments added regarding reading the RXBYTES register
 *
 * Added SIDLE strobe
 *
 * Revision 1.7  2005/11/09 09:38:35  sna
 * Function will return FALSE when no data was put in the RX FIFO due to filtering
 * (previously no return value was defined for this case)
 *
 * Revision 1.6  2005/10/25 09:50:26  sna
 * Corrected typing error
 *
 * Revision 1.5  2005/09/29 06:54:27  sna
 * #define BYTES_IN_RXFIFO     0x7F is changed from
 * #define BYTES_IN_RXFIFO     0xEF
 *
 * Revision 1.4  2005/07/11 12:27:49  sna
 * CRC_OK is checked in the FIFO instead of in PKTSTATUS.
 * After packet received is detected, RXBYTES is read to make sure that the FIFO
 * has not been flushed due to address filtering, CRC filtering or packet length
 * filtering
 *
 * Revision 1.3  2005/06/30 08:32:42  sna
 * Uses GDO0 instead of GDO2 since CCxx50 does not have GDO2
 * Check CRC using status byte in FIFO instead of using PKTSTATUS
 *
 * Revision 1.2  2005/02/07 14:44:48  sna
 * Initial version in CVS.
 *
 *
 ******************************************************************************************************/
```

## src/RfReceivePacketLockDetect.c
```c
/*******************************************************************************************************
 *                                                                                                     *
 *        **********                                                                                   *
 *       ************                                                                                  *
 *      ***        ***                                                                                 *
 *      ***   +++   ***                                                                                *
 *      ***   + +   ***     This function checks for lock and receives a packet                        *
 *      ***   +                                                                                        *
 *      ***   + +   ***                                                                                *
 *      ***   +++   ***     RfReceivePacketLockDetect.c                                                *
 *      ***        ***                                                                                 *
 *       ************                                                                                  *
 *        **********                                                                                   *
 *                                                                                                     *
 *******************************************************************************************************
 * Compiler:                Keil C51 V7.50                                                             *
 * Target platform:         Chipcon CCxxx0 (Silabs F320)                                               *
 * Author:                  SNA                                                                        *
 *******************************************************************************************************
 * Revision history:        See end of file                                                            *
 ******************************************************************************************************/
#include <Chipcon\srf04\halsrf04.h>
#include <Chipcon\srf04\regssrf04.h>



//-------------------------------------------------------------------------------------------------------
// Defines
#define CRC_OK              0x80  
#define GDO0_PIN            P0_6
#define RSSI                0
#define LQI                 1
#define BYTES_IN_RXFIFO     0x7F        
//-------------------------------------------------------------------------------------------------------




//-------------------------------------------------------------------------------------------------------
//  BOOL halRfReceivePacketLockDetect(BYTE *rxBuffer, UINT8 *length, *pLock)
//
//  DESCRIPTION: 
//      This function can be used to receive a packet of variable packet length (first byte in the packet
//      must be the length byte). The packet length should not exceed the RX FIFO size.
//      To use this function, GD00 must be configured to be asserted when sync word is sent and 
//      de-asserted at the end of the packet => halSpiWriteReg(CCxxx0_IOCFG0, 0x06);
//      GD02 must be configured to be asserted when lock is detected
//      => halSpiWriteReg(CCxxx0_IOCFG2, 0x0A);
//      Also, APPEND_STATUS in the PKTCTRL1 register must be enabled. If the PLL is not locked within
//      ~920 us the radio is forced to IDLE state and the RX FIFO is being flushed.
//      The function implements polling of GDO0. First it waits for GD00 to be set and then it waits
//      for it to be cleared.
//      After the GDO0 pin has been de-asserted, the RXBYTES register is read to make sure that there
//      are bytes in the FIFO. This is because the GDO signal will indicate sync received even if the
//      FIFO is flushed due to address filtering, CRC filtering, or packet length filtering. 
//  
//  ARGUMENTS:
//      BYTE *rxBuffer
//          Pointer to the buffer where the incoming data should be stored
//
//      UINT8 *length
//          Pointer to a variable containing the size of the buffer where the incoming data should be
//          stored. After this function returns, that variable holds the packet length.
//
//      BOOL *pLock
//          Pointer to a variable that is set in an ISR when the Lock Detector is asserted.
//          
//  RETURN VALUE:
//      BOOL
//          TRUE:   CRC OK
//          FALSE:  CRC NOT OK, 
//                      or 
//                  no packet was put in the RX FIFO due to filtering
//                      or
//                  the PLL did not lock 
//-------------------------------------------------------------------------------------------------------
BOOL halRfReceivePacketLockDetect(BYTE *rxBuffer, UINT8 *length, BOOL *pLock) {
    BYTE status[2];
    UINT8 packetLength;
    UINT16 lockTimeout = 1300;

    ENABLE_GLOBAL_INT(INT_OFF);
    SETUP_GDO2_INT(EDGE, HIGH);
    INT_SETFLAG(INUM_EXTERNAL1, INT_CLR);
    ENABLE_GLOBAL_INT(INT_ON);

    halSpiStrobe(CCxxx0_SRX);

    while (((*pLock == FALSE)) && (lockTimeout--));

    INT_ENABLE(INUM_EXTERNAL1, INT_OFF);

    if ((*pLock == TRUE)) {

        // Wait for GDO0 to be set -> sync received
        while (!GDO0_PIN);

        // Wait for GDO0 to be cleared -> end of packet
        while (GDO0_PIN);

        *pLock = FALSE;

        // This status register is safe to read since it will not be updated after
        // the packet has been received (See the CC11xx and 25xx Errata Note)
        if ((halSpiReadStatus(CCxxx0_RXBYTES) & BYTES_IN_RXFIFO)) {

            // Read length byte
            packetLength = halSpiReadReg(CCxxx0_RXFIFO);
    
            // Read data from RX FIFO and store in rxBuffer
            if (packetLength <= *length) {
                halSpiReadBurstReg(CCxxx0_RXFIFO, rxBuffer, packetLength); 
                *length = packetLength;
        
                // Read the 2 appended status bytes (status[0] = RSSI, status[1] = LQI)
                halSpiReadBurstReg(CCxxx0_RXFIFO, status, 2); 
        
                // MSB of LQI is the CRC_OK bit
                return (status[LQI] & CRC_OK);
            } else {
                *length = packetLength;

                // Flush RX FIFO
                halSpiStrobe(CCxxx0_SFRX);
                return FALSE;
            }
        } else
            return FALSE;
    } else {

        *pLock = FALSE;

        halSpiStrobe(CCxxx0_SIDLE);
        halSpiStrobe(CCxxx0_SFRX);
        return FALSE;
    }
}// halRfReceivePacketLockDetect




/*******************************************************************************************************
 * Revision history:                                                                                   *
 *
 * $Log: RfReceivePacketLockDetect.c,v $
 * Revision 1.2  2006/03/17 10:02:49  a0190596
 * Comments added regarding reading the RXBYTES register
 *
 * Revision 1.1  2005/12/20 12:09:37  sna
 * Initial version in CVS.
 *
 *
 *
 ******************************************************************************************************/
```

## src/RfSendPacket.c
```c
/*******************************************************************************************************
 *                                                                                                     *
 *        **********                                                                                   *
 *       ************                                                                                  *
 *      ***        ***                                                                                 *
 *      ***   +++   ***                                                                                *
 *      ***   + +   ***     This function transmits a packet                                           *
 *      ***   +                                                                                        *
 *      ***   + +   ***                                                                                *
 *      ***   +++   ***     RfSendPacket.c                                                             *
 *      ***        ***                                                                                 *
 *       ************                                                                                  *
 *        **********                                                                                   *
 *                                                                                                     *
 *******************************************************************************************************
 * Compiler:                Keil C51 V7.50                                                             *
 * Target platform:         Chipcon CCxxx0 (Silabs F320)                                               *
 * Author:                  SNA                                                                        *
 *******************************************************************************************************
 * Revision history:        See end of file                                                            *
 ******************************************************************************************************/
#include <Chipcon\srf04\halsrf04.h>
#include <Chipcon\srf04\regssrf04.h>




//-------------------------------------------------------------------------------------------------------
// Defines
#define GDO0_PIN        P0_6            
//-------------------------------------------------------------------------------------------------------




//-------------------------------------------------------------------------------------------------------
//  void halRfSendPacket(BYTE *txBuffer, UINT8 size)
//
//  DESCRIPTION:
//      This function can be used to transmit a packet with packet length up to 63 bytes.
//      To use this function, GD00 must be configured to be asserted when sync word is sent and 
//      de-asserted at the end of the packet => halSpiWriteReg(CCxxx0_IOCFG0, 0x06);
//      The function implements polling of GDO0. First it waits for GD00 to be set and then it waits
//      for it to be cleared.  
//      
//  ARGUMENTS:
//      BYTE *txBuffer
//          Pointer to a buffer containing the data that are going to be transmitted
//
//      UINT8 size
//          The size of the txBuffer
//-------------------------------------------------------------------------------------------------------
void halRfSendPacket(BYTE *txBuffer, UINT8 size) {

    halSpiWriteBurstReg(CCxxx0_TXFIFO, txBuffer, size);

    halSpiStrobe(CCxxx0_STX);

    // Wait for GDO0 to be set -> sync transmitted
    while (!GDO0_PIN);

    // Wait for GDO0 to be cleared -> end of packet
    while (GDO0_PIN);

}// halRfSendPacket




/*******************************************************************************************************
 * Revision history:                                                                                   *
 *
 * $Log: RfSendPacket.c,v $
 * Revision 1.6  2005/10/25 09:50:48  sna
 * Corrected typing error
 *
 * Revision 1.5  2005/07/11 12:28:16  sna
 * no message
 *
 * Revision 1.4  2005/06/30 08:32:58  sna
 * Uses GDO0 instead of GDO2 since CCxx50 does not have GDO2
 *
 * Revision 1.3  2005/06/14 11:06:26  sna
 * no message
 *
 * Revision 1.2  2005/02/07 14:44:56  sna
 * Initial version in CVS.
 *
 *
 ******************************************************************************************************/
```
